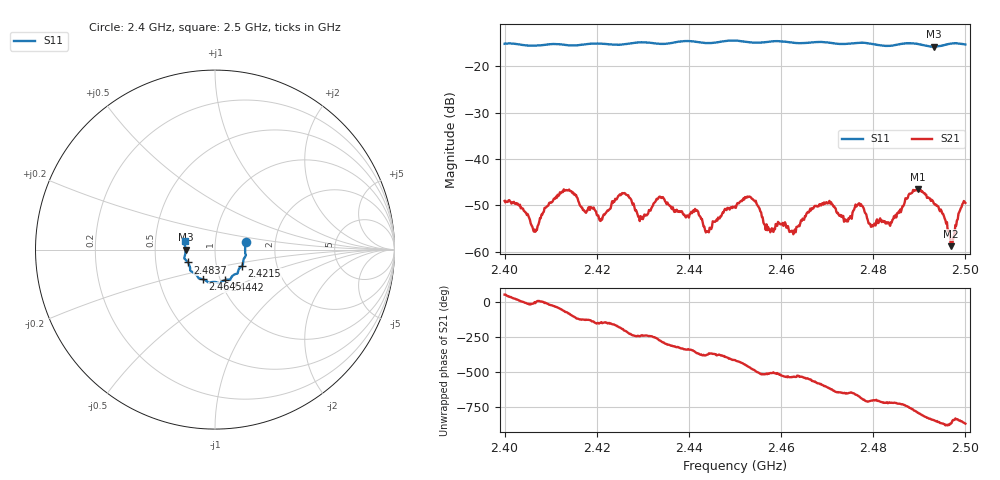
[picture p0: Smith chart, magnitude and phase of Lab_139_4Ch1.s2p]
# Hz S RI R 50
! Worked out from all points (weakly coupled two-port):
!   601 points, 2.4 GHz to 2.5 GHz, reference 50 ohm
!   highest |S21| = -46.51 dB at 2.4897 GHz (marker M1); lowest = -58.8 dB at 2.4968 GHz (marker M2)
!   lowest |S11| = -15.7 dB at 2.4932 GHz (marker M3), VSWR 1.39, Z = 36 - j0.0525 ohm
!   |S11| at or under -10 dB: start of sweep to end of sweep
!   S12 and S22 are empty: the file has one direction only
!   S11 on the Smith chart (normalised r, x): 2.4 GHz: 1.41, +0.12; 2.4215 GHz: 1.33, -0.25; 2.4442 GHz: 1.05, -0.37; 2.4645 GHz: 0.83, -0.29; 2.4837 GHz: 0.73, -0.11; 2.5 GHz: 0.71, +0.07
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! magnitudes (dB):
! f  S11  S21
! 2.4 GHz  -15.1  -49.1
! 2.4065 GHz  -15.5  -55.3
! 2.4125 GHz  -15.3  -47.0
! 2.4167 GHz  -15.3  -50.4
! 2.4215 GHz  -15.1  -52.0
! 2.4255 GHz  -15.3  -47.4
! 2.4295 GHz  -14.8  -52.3
! 2.4333 GHz  -15.1  -48.5
! 2.4442 GHz  -15.0  -55.6
! 2.45 GHz  -14.4  -50.3
! 2.4535 GHz  -14.8  -48.3
! 2.4578 GHz  -14.6  -55.3
! 2.4645 GHz  -15.0  -53.4
! 2.4667 GHz  -14.8  -50.6
! 2.4742 GHz  -15.1  -53.5
! 2.4772 GHz  -14.9  -50.1
! 2.4833 GHz  -15.6  -53.7
! 2.4837 GHz  -15.5  -54.4
! 2.4897 GHz  -15.1  -46.5
! 2.4932 GHz  -15.7  -49.7
! 2.4968 GHz  -15.1  -58.8
! 2.5 GHz  -15.3  -49.5
